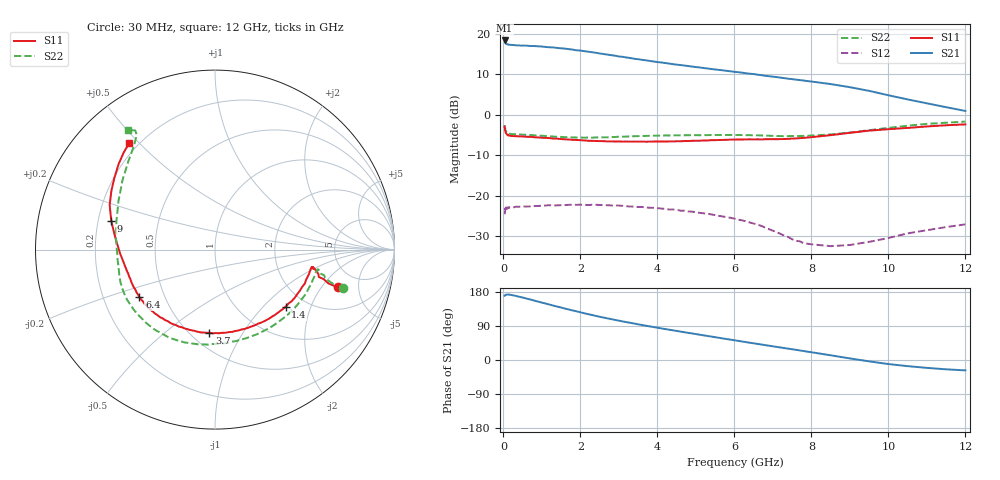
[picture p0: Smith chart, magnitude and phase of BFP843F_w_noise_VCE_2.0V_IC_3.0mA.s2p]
! Infineon Technologies  Discrete & RF Semiconductors
! BFP843F
! VCE =  2.0 V,  IC =  3.0 mA
! Common Emitter S-Parameters:  Aug 2013
# GHz  S  MA  R  50
!  f  S11  S21  S12  S22
! GHz  MAG  ANG  MAG  ANG  MAG  ANG  MAG  ANG
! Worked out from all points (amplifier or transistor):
!   103 points, 30 MHz to 12 GHz, reference 50 ohm
!   highest |S21| = 18.4 dB at 30 MHz (marker M1)
!   |S21| within 3 dB of that: start of sweep to 2.365 GHz
!   unconditionally stable (mu >= 1): 179.6 MHz to 622.5 MHz; 4.257 GHz to end of sweep
!   at 400 MHz: K = 1.01, MAG = 19.5 dB, |S12| = -22.8 dB
!   at 3.7 GHz: K = 0.95, MSG = 18.2 dB, |S12| = -23.0 dB
!   at 12 GHz: K = 1.56, MAG = 9.6 dB, |S12| = -27.1 dB
!   lowest NFmin = 0.93 dB at 450 MHz
!   S11 on the Smith chart (normalised r, x): 30 MHz: 3.38, -2.90; 1.4 GHz: 1.58, -1.36; 3.7 GHz: 0.61, -0.73; 6.4 GHz: 0.36, -0.25; 9 GHz: 0.26, +0.13; 12 GHz: 0.17, +0.47
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0.03  0.7144 -17.1  8.351 169.4  0.0586 36.8  0.7446 -16.7
0.04  0.6589 -16.6  8.035 169.6  0.0625 28.5  0.6868 -16.2
0.05  0.6271 -15.2  7.777 171.5  0.0696 22.9  0.654 -15.3
0.07  0.5925 -13.4  7.567 172.2  0.0713 18.8  0.6251 -13.2
0.15  0.5542 -10.2  7.389 172.6  0.0709 10.4  0.5831 -10.8
0.8  0.5277 -23.4  7.129 156.8  0.0741 0.4  0.5574 -29.1
1.4  0.5068 -39.1  6.737 140.9  0.0756 -3.7  0.5354 -49.9
1.7  0.4944 -47.1  6.518 133.2  0.0768 -6.3  0.5276 -60.3
2.1  0.4821 -57.1  6.147 123.3  0.077 -9.3  0.522 -74.0
2.4  0.474 -64.5  5.882 116.4  0.0769 -11.1  0.5245 -83.2
2.9  0.4677 -76.2  5.406 105.8  0.0756 -15.7  0.5318 -96.7
3.7  0.4645 -93.8  4.744 90.5  0.0712 -21.3  0.5481 -113.5
4.1  0.4676 -102.4  4.455 83.4  0.069 -24.2  0.5526 -120.7
5.1  0.4777 -123.5  3.867 66.7  0.061 -31.8  0.5594 -137.1
6.1  0.4954 -142.3  3.376 50.5  0.0502 -38.0  0.5625 -153.1
6.4  0.4977 -147.8  3.233 45.6  0.0464 -40.0  0.5602 -157.9
7.3  0.5015 -164.5  2.85 31.4  0.0318 -38.6  0.5456 -172.1
8.5  0.5603 172.9  2.407 12.4  0.0236 -10.4  0.5717 163.9
9  0.5989 164.7  2.201 4.2  0.0244 2.3  0.6033 152.9
10  0.6644 150.3  1.749 -10.7  0.0298 18.4  0.6896 134.4
10.5  0.6889 144.4  1.553 -16.2  0.034 22.3  0.7334 128.0
12  0.7618 128.8  1.117 -27.4  0.044 28.9  0.8253 126.2
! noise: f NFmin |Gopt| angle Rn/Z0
0.45  0.93  0.25  10  0.08
0.9  0.95  0.25  20  0.09
1.5  1.04  0.25  27  0.09
1.9  1.09  0.24  40  0.09
2.4  1.14  0.23  53  0.1
3.5  1.23  0.24  79  0.17
5.5  1.35  0.23  133  0.27
10  2.24  0.43  -133  0.29
